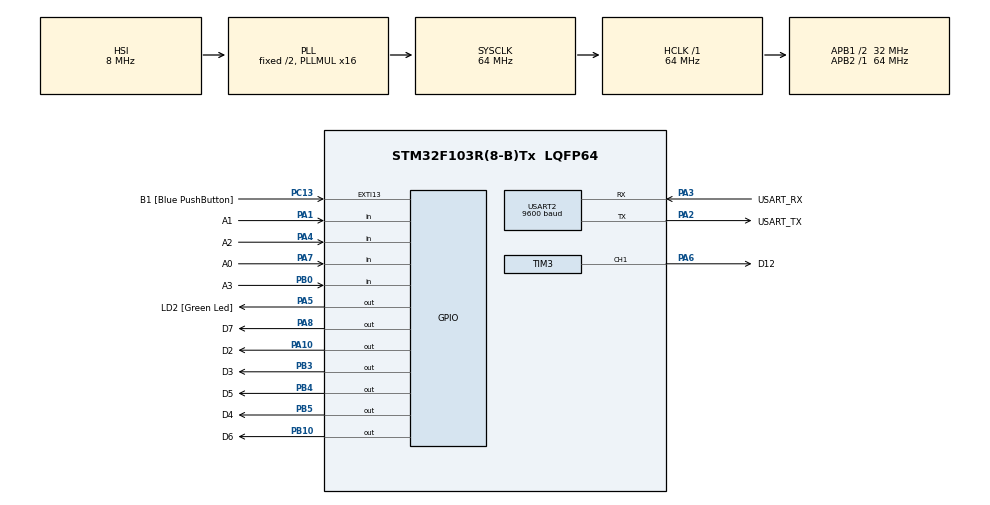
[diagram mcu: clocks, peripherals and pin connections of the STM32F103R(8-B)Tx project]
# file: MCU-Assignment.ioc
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Mcu.Family=STM32F1
Mcu.Name=STM32F103R(8-B)Tx
Mcu.Package=LQFP64
NVIC.EXTI15_10_IRQn=true\:0\:0\:false\:false\:true\:true\:true
NVIC.PriorityGroup=NVIC_PRIORITYGROUP_4
NVIC.TIM2_IRQn=true\:0\:0\:false\:false\:true\:true\:true
NVIC.TIM3_IRQn=true\:0\:0\:false\:false\:true\:true\:true
NVIC.USART2_IRQn=true\:0\:0\:false\:false\:true\:true\:true
PA1.GPIO_Label=A1
PA1.GPIO_PuPd=GPIO_PULLUP
PA1.Signal=GPIO_Input
PA10.GPIO_Label=D2
PA10.Signal=GPIO_Output
PA13.GPIO_Label=TMS
PA13.Mode=Serial_Wire
PA13.Signal=SYS_JTMS-SWDIO
PA14.GPIO_Label=TCK
PA14.Mode=Serial_Wire
PA14.Signal=SYS_JTCK-SWCLK
PA2.GPIO_Label=USART_TX
PA2.GPIO_Mode=GPIO_MODE_AF_PP
PA2.GPIO_PuPd=GPIO_NOPULL
PA2.GPIO_Speed=GPIO_SPEED_FREQ_LOW
PA2.Mode=Asynchronous
PA2.Signal=USART2_TX
PA3.GPIO_Label=USART_RX
PA3.GPIO_Mode=GPIO_MODE_AF_PP
PA3.GPIO_PuPd=GPIO_NOPULL
PA3.GPIO_Speed=GPIO_SPEED_FREQ_LOW
PA3.Mode=Asynchronous
PA3.Signal=USART2_RX
PA4.GPIO_Label=A2
PA4.GPIO_PuPd=GPIO_PULLUP
PA4.Signal=GPIO_Input
PA5.GPIO_Label=LD2 [Green Led]
PA5.GPIO_ModeDefaultOutputPP=GPIO_MODE_OUTPUT_PP
PA5.GPIO_PuPd=GPIO_NOPULL
PA5.GPIO_Speed=GPIO_SPEED_FREQ_LOW
PA5.Signal=GPIO_Output
PA6.GPIO_Label=D12
PA6.Signal=S_TIM3_CH1
PA7.GPIO_Label=A0
PA7.GPIO_PuPd=GPIO_PULLUP
PA7.Signal=GPIO_Input
PA8.GPIO_Label=D7
PA8.Signal=GPIO_Output
PB0.GPIO_Label=A3
PB0.GPIO_PuPd=GPIO_PULLUP
PB0.Signal=GPIO_Input
PB10.GPIO_Label=D6
PB10.Signal=GPIO_Output
PB3.GPIO_Label=D3
PB3.Signal=GPIO_Output
PB4.GPIO_Label=D5
PB4.Signal=GPIO_Output
PB5.GPIO_Label=D4
PB5.Signal=GPIO_Output
PC13-TAMPER-RTC.GPIO_Label=B1 [Blue PushButton]
PC13-TAMPER-RTC.GPIO_PuPd=GPIO_NOPULL
PC13-TAMPER-RTC.Signal=GPXTI13
PC14-OSC32_IN.Mode=LSE-External-Oscillator
PC14-OSC32_IN.Signal=RCC_OSC32_IN
PC15-OSC32_OUT.Mode=LSE-External-Oscillator
PC15-OSC32_OUT.Signal=RCC_OSC32_OUT
PD0-OSC_IN.Mode=HSE-External-Clock-Source
PD0-OSC_IN.Signal=RCC_OSC_IN
PD1-OSC_OUT.Mode=HSE-External-Clock-Source
PD1-OSC_OUT.Signal=RCC_OSC_OUT
ProjectManager.HeapSize=0x200
ProjectManager.StackSize=0x400
ProjectManager.TargetToolchain=STM32CubeIDE
RCC.AHBFreq_Value=64000000
RCC.APB1CLKDivider=RCC_HCLK_DIV2
RCC.APB1Freq_Value=32000000
RCC.APB1TimFreq_Value=64000000
RCC.APB2Freq_Value=64000000
RCC.APB2TimFreq_Value=64000000
RCC.HCLKFreq_Value=64000000
RCC.PLLMUL=RCC_PLL_MUL16
RCC.RTCClockSelection=RCC_RTCCLKSOURCE_LSE
RCC.SYSCLKFreq_VALUE=64000000
RCC.SYSCLKSource=RCC_SYSCLKSOURCE_PLLCLK
RCC.USBFreq_Value=64000000
SH.S_TIM3_CH1.0=TIM3_CH1,PWM Generation1 CH1
TIM2.Period=9
TIM2.Prescaler=63999
TIM3.Channel-PWM\ Generation1\ CH1=TIM_CHANNEL_1
TIM3.Period=99
TIM3.Prescaler=63
USART2.BaudRate=9600
USART2.VirtualMode=VM_ASYNC
VP_TIM2_VS_ClockSourceINT.Mode=Internal
VP_TIM3_VS_ClockSourceINT.Mode=Internal
board=NUCLEO-F103RB

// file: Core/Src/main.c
/* USER CODE BEGIN Header */
/**
  ******************************************************************************
  * @file           : main.c
  * @brief          : Main program body
  ******************************************************************************
  * @attention
  *
  * <h2><center>&copy; Copyright (c) 2022 STMicroelectronics.
  * All rights reserved.</center></h2>
  *
  * This software component is licensed by ST under BSD 3-Clause license,
  * the "License"; You may not use this file except in compliance with the
  * License. You may obtain a copy of the License at:
  *                        opensource.org/licenses/BSD-3-Clause
  *
  ******************************************************************************
  */
/* USER CODE END Header */
#include "main.h"

/* USER CODE BEGIN Includes */
#include "software_timer.h"
#include "button.h"
#include "display.h"
#include "global.h"
#include "fsm_traffic_light.h"
#include "fsm_pedestrian_light.h"
#include "stdio.h"
/* USER CODE END Includes */

TIM_HandleTypeDef htim2;
TIM_HandleTypeDef htim3;

UART_HandleTypeDef huart2;

void SystemClock_Config(void);
static void MX_GPIO_Init(void);
static void MX_USART2_UART_Init(void);
static void MX_TIM3_Init(void);
static void MX_TIM2_Init(void);

/* USER CODE BEGIN 0 */
void HAL_UART_RxCpltCallback(UART_HandleTypeDef* huart) {
	if(huart->Instance == USART2){
		HAL_UART_Transmit(&huart2, &temp, 1, 50);
		HAL_UART_Receive_IT(&huart2, &temp, 1);
	}
}

/* USER CODE END 0 */

int main(void)
{

  /* MCU Configuration--------------------------------------------------------*/

  /* Reset of all peripherals, Initializes the Flash interface and the Systick. */
  HAL_Init();

  /* Configure the system clock */
  SystemClock_Config();

  /* Initialize all configured peripherals */
  MX_GPIO_Init();
  MX_USART2_UART_Init();
  MX_TIM3_Init();
  MX_TIM2_Init();
  /* USER CODE BEGIN 2 */
  HAL_TIM_PWM_Start(&htim3, TIM_CHANNEL_1);
  HAL_TIM_Base_Start_IT(&htim2);
  HAL_UART_Receive_IT(&huart2, &temp, 1);
  /* USER CODE END 2 */

  /* Infinite loop */
  /* USER CODE BEGIN WHILE */
  timer_flag[5] = 1;
  timer_flag[4] = 1;
  while (1)
  {
    /* USER CODE END WHILE */

    /* USER CODE BEGIN 3 */
	  fsm_traffic_light();
	  fsm_pedestrian_light(htim3);
  }
  /* USER CODE END 3 */
}

void SystemClock_Config(void)
{
  RCC_OscInitTypeDef RCC_OscInitStruct = {0};
  RCC_ClkInitTypeDef RCC_ClkInitStruct = {0};

  /** Initializes the RCC Oscillators according to the specified parameters
  * in the RCC_OscInitTypeDef structure.
  */
  RCC_OscInitStruct.OscillatorType = RCC_OSCILLATORTYPE_HSI;
  RCC_OscInitStruct.HSIState = RCC_HSI_ON;
  RCC_OscInitStruct.HSICalibrationValue = RCC_HSICALIBRATION_DEFAULT;
  RCC_OscInitStruct.PLL.PLLState = RCC_PLL_ON;
  RCC_OscInitStruct.PLL.PLLSource = RCC_PLLSOURCE_HSI_DIV2;
  RCC_OscInitStruct.PLL.PLLMUL = RCC_PLL_MUL16;
  if (HAL_RCC_OscConfig(&RCC_OscInitStruct) != HAL_OK)
  {
    Error_Handler();
  }
  /** Initializes the CPU, AHB and APB buses clocks
  */
  RCC_ClkInitStruct.ClockType = RCC_CLOCKTYPE_HCLK|RCC_CLOCKTYPE_SYSCLK
                              |RCC_CLOCKTYPE_PCLK1|RCC_CLOCKTYPE_PCLK2;
  RCC_ClkInitStruct.SYSCLKSource = RCC_SYSCLKSOURCE_PLLCLK;
  RCC_ClkInitStruct.AHBCLKDivider = RCC_SYSCLK_DIV1;
  RCC_ClkInitStruct.APB1CLKDivider = RCC_HCLK_DIV2;
  RCC_ClkInitStruct.APB2CLKDivider = RCC_HCLK_DIV1;

  if (HAL_RCC_ClockConfig(&RCC_ClkInitStruct, FLASH_LATENCY_2) != HAL_OK)
  {
    Error_Handler();
  }
}

static void MX_TIM2_Init(void)
{

  TIM_ClockConfigTypeDef sClockSourceConfig = {0};
  TIM_MasterConfigTypeDef sMasterConfig = {0};

  htim2.Instance = TIM2;
  htim2.Init.Prescaler = 63999;
  htim2.Init.CounterMode = TIM_COUNTERMODE_UP;
  htim2.Init.Period = 9;
  htim2.Init.ClockDivision = TIM_CLOCKDIVISION_DIV1;
  htim2.Init.AutoReloadPreload = TIM_AUTORELOAD_PRELOAD_DISABLE;
  if (HAL_TIM_Base_Init(&htim2) != HAL_OK)
  {
    Error_Handler();
  }
  sClockSourceConfig.ClockSource = TIM_CLOCKSOURCE_INTERNAL;
  if (HAL_TIM_ConfigClockSource(&htim2, &sClockSourceConfig) != HAL_OK)
  {
    Error_Handler();
  }
  sMasterConfig.MasterOutputTrigger = TIM_TRGO_RESET;
  sMasterConfig.MasterSlaveMode = TIM_MASTERSLAVEMODE_DISABLE;
  if (HAL_TIMEx_MasterConfigSynchronization(&htim2, &sMasterConfig) != HAL_OK)
  {
    Error_Handler();
  }
  /* USER CODE BEGIN TIM2_Init 2 */
  TIME_CYCLE = 1/(64e6/(htim2.Init.Prescaler + 1)/(htim2.Init.Period + 1)) * 1000; // Time cycle
  /* USER CODE END TIM2_Init 2 */

}

static void MX_TIM3_Init(void)
{

  TIM_ClockConfigTypeDef sClockSourceConfig = {0};
  TIM_MasterConfigTypeDef sMasterConfig = {0};
  TIM_OC_InitTypeDef sConfigOC = {0};

  htim3.Instance = TIM3;
  htim3.Init.Prescaler = 63;
  htim3.Init.CounterMode = TIM_COUNTERMODE_UP;
  htim3.Init.Period = 99;
  htim3.Init.ClockDivision = TIM_CLOCKDIVISION_DIV1;
  htim3.Init.AutoReloadPreload = TIM_AUTORELOAD_PRELOAD_DISABLE;
  if (HAL_TIM_Base_Init(&htim3) != HAL_OK)
  {
    Error_Handler();
  }
  sClockSourceConfig.ClockSource = TIM_CLOCKSOURCE_INTERNAL;
  if (HAL_TIM_ConfigClockSource(&htim3, &sClockSourceConfig) != HAL_OK)
  {
    Error_Handler();
  }
  if (HAL_TIM_PWM_Init(&htim3) != HAL_OK)
  {
    Error_Handler();
  }
  sMasterConfig.MasterOutputTrigger = TIM_TRGO_RESET;
  sMasterConfig.MasterSlaveMode = TIM_MASTERSLAVEMODE_DISABLE;
  if (HAL_TIMEx_MasterConfigSynchronization(&htim3, &sMasterConfig) != HAL_OK)
  {
    Error_Handler();
  }
  sConfigOC.OCMode = TIM_OCMODE_PWM1;
  sConfigOC.Pulse = 0;
  sConfigOC.OCPolarity = TIM_OCPOLARITY_HIGH;
  sConfigOC.OCFastMode = TIM_OCFAST_DISABLE;
  if (HAL_TIM_PWM_ConfigChannel(&htim3, &sConfigOC, TIM_CHANNEL_1) != HAL_OK)
  {
    Error_Handler();
  }
  HAL_TIM_MspPostInit(&htim3);

}

static void MX_USART2_UART_Init(void)
{

  huart2.Instance = USART2;
  huart2.Init.BaudRate = 9600;
  huart2.Init.WordLength = UART_WORDLENGTH_8B;
  huart2.Init.StopBits = UART_STOPBITS_1;
  huart2.Init.Parity = UART_PARITY_NONE;
  huart2.Init.Mode = UART_MODE_TX_RX;
  huart2.Init.HwFlowCtl = UART_HWCONTROL_NONE;
  huart2.Init.OverSampling = UART_OVERSAMPLING_16;
  if (HAL_UART_Init(&huart2) != HAL_OK)
  {
    Error_Handler();
  }

}

static void MX_GPIO_Init(void)
{
  GPIO_InitTypeDef GPIO_InitStruct = {0};

  /* GPIO Ports Clock Enable */
  __HAL_RCC_GPIOC_CLK_ENABLE();
  __HAL_RCC_GPIOD_CLK_ENABLE();
  __HAL_RCC_GPIOA_CLK_ENABLE();
  __HAL_RCC_GPIOB_CLK_ENABLE();

  /*Configure GPIO pin Output Level */
  HAL_GPIO_WritePin(GPIOA, LD2_Pin|D7_Pin|D2_Pin, GPIO_PIN_RESET);

  /*Configure GPIO pin Output Level */
  HAL_GPIO_WritePin(GPIOB, D6_Pin|D3_Pin|D5_Pin|D4_Pin, GPIO_PIN_RESET);

  /*Configure GPIO pin : B1_Pin */
  GPIO_InitStruct.Pin = B1_Pin;
  GPIO_InitStruct.Mode = GPIO_MODE_IT_RISING;
  GPIO_InitStruct.Pull = GPIO_NOPULL;
  HAL_GPIO_Init(B1_GPIO_Port, &GPIO_InitStruct);

  /*Configure GPIO pins : A1_Pin A2_Pin A0_Pin */
  GPIO_InitStruct.Pin = A1_Pin|A2_Pin|A0_Pin;
  GPIO_InitStruct.Mode = GPIO_MODE_INPUT;
  GPIO_InitStruct.Pull = GPIO_PULLUP;
  HAL_GPIO_Init(GPIOA, &GPIO_InitStruct);

  /*Configure GPIO pins : LD2_Pin D7_Pin D2_Pin */
  GPIO_InitStruct.Pin = LD2_Pin|D7_Pin|D2_Pin;
  GPIO_InitStruct.Mode = GPIO_MODE_OUTPUT_PP;
  GPIO_InitStruct.Pull = GPIO_NOPULL;
  GPIO_InitStruct.Speed = GPIO_SPEED_FREQ_LOW;
  HAL_GPIO_Init(GPIOA, &GPIO_InitStruct);

  /*Configure GPIO pin : A3_Pin */
  GPIO_InitStruct.Pin = A3_Pin;
  GPIO_InitStruct.Mode = GPIO_MODE_INPUT;
  GPIO_InitStruct.Pull = GPIO_PULLUP;
  HAL_GPIO_Init(A3_GPIO_Port, &GPIO_InitStruct);

  /*Configure GPIO pins : D6_Pin D3_Pin D5_Pin D4_Pin */
  GPIO_InitStruct.Pin = D6_Pin|D3_Pin|D5_Pin|D4_Pin;
  GPIO_InitStruct.Mode = GPIO_MODE_OUTPUT_PP;
  GPIO_InitStruct.Pull = GPIO_NOPULL;
  GPIO_InitStruct.Speed = GPIO_SPEED_FREQ_LOW;
  HAL_GPIO_Init(GPIOB, &GPIO_InitStruct);

  /* EXTI interrupt init*/
  HAL_NVIC_SetPriority(EXTI15_10_IRQn, 0, 0);
  HAL_NVIC_EnableIRQ(EXTI15_10_IRQn);

}

/* USER CODE BEGIN 4 */
void HAL_TIM_PeriodElapsedCallback(TIM_HandleTypeDef * htim) {
	timerRun();
	getKeyInput();
}
/* USER CODE END 4 */

void Error_Handler(void)
{
  __disable_irq();
  while (1)
  {
  }
}

/************************ (C) COPYRIGHT STMicroelectronics *****END OF FILE****/
